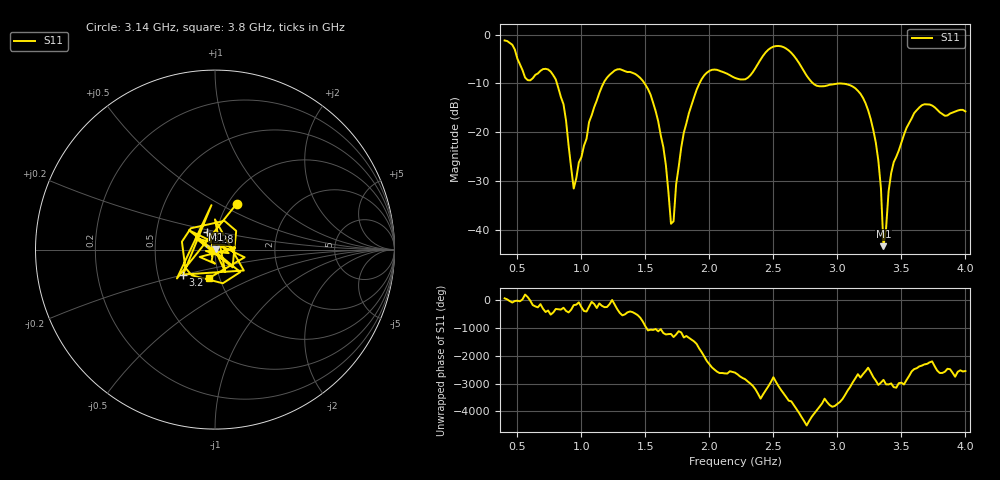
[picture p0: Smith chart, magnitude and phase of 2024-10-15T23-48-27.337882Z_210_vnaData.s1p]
! Created with skrf (http://scikit-rf.org).
# Hz S RI R 50.0
!freq ReS11 ImS11
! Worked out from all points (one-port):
!   181 points, 400 MHz to 4 GHz, reference 50 ohm
!   lowest |S11| = -43.3 dB at 3.36 GHz (marker M1), VSWR 1.01, Z = 50.7 + j0.154 ohm
!   |S11| at or under -10 dB: 809.2 MHz to 1.172 GHz (362.9 MHz wide, 36.6 % of centre); 1.493 GHz to 1.922 GHz (428.7 MHz wide, 25.1 % of centre); 3.024 GHz to end of sweep (the widest 3 of 4)
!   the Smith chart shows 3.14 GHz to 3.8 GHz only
!   S11 on the Smith chart (normalised r, x): 3.14 GHz: 1.10, +0.61; 3.2 GHz: 0.68, -0.20; 3.28 GHz: 0.90, +0.18; 3.8 GHz: 0.90, -0.29
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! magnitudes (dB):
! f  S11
! 400 MHz  -1.2
! 580 MHz  -9.3
! 760 MHz  -7.6
! 860 MHz  -14.2
! 940 MHz  -31.5
! 1.14 GHz  -12.0
! 1.3 GHz  -7.1
! 1.54 GHz  -12.3
! 1.64 GHz  -23.0
! 1.7 GHz  -38.7
! 1.72 GHz  -38.2
! 1.76 GHz  -27.1
! 1.84 GHz  -16.1
! 1.94 GHz  -9.1
! 2.2 GHz  -8.9
! 2.5 GHz  -2.5
! 2.66 GHz  -4.3
! 2.84 GHz  -10.5
! 3.1 GHz  -10.4
! 3.14 GHz  -11.0
! 3.2 GHz  -12.9
! 3.28 GHz  -19.5
! 3.34 GHz  -31.3
! 3.36 GHz  -43.3
! 3.42 GHz  -28.3
! 3.56 GHz  -18.1
! 3.8 GHz  -15.9
! 4 GHz  -15.7
